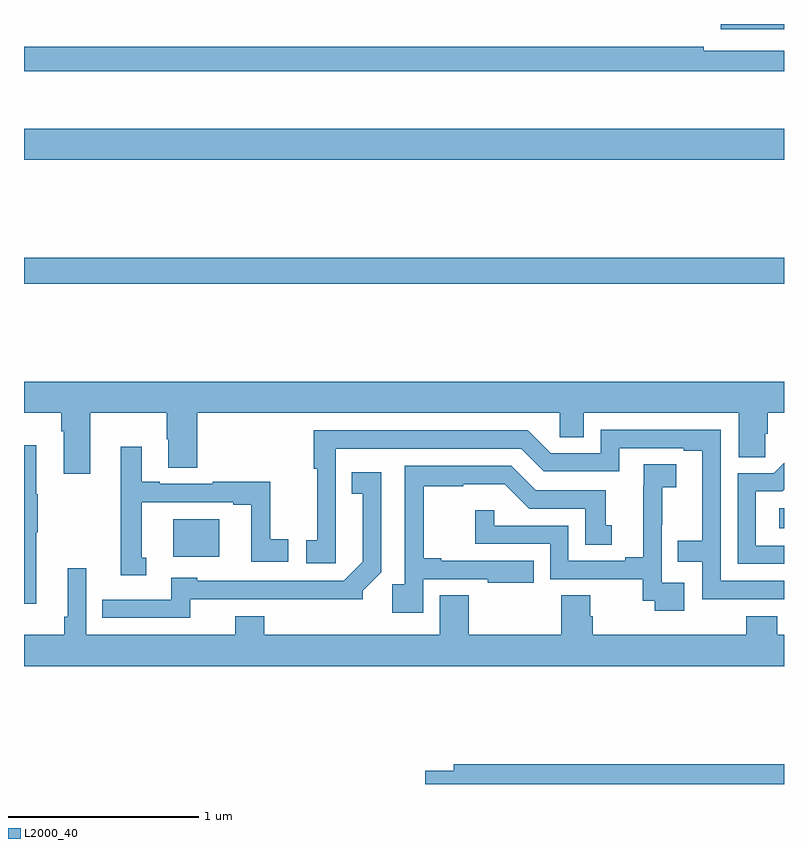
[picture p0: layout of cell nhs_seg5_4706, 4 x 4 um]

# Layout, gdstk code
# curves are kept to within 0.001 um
import gdstk
lib = gdstk.Library(unit=1e-6, precision=1e-09)
def R(c, l, rs):  # rectangles x0, y0, x1, y1
    for r in rs: c.add(gdstk.rectangle(r[:2], r[2:], *l))
def P(c, l, *ps):  # polygons
    for p in ps: c.add(gdstk.Polygon(p, *l))
L2000_40 = (2000, 40)

nhs_seg5_4706 = lib.new_cell('nhs_seg5_4706')
R(nhs_seg5_4706, L2000_40, [(387.785,863.996,388.027,864.193), (390.975,864.146,391,864.25), (387,865.432,391,865.568), (387,866.084,391,866.248), (390.666,866.771,391,866.799)])
P(nhs_seg5_4706, L2000_40, [(391,866.658),(390.578,866.658),(390.578,866.678),(387,866.678),(387,866.55),(391,866.55)],
  [(387.349,864.752),(387.751,864.752),(387.751,864.614),(387.758,864.614),(387.758,864.463),(387.911,864.463),(387.911,864.752),(389.82,864.752),(389.82,864.625),(389.947,864.625),(389.947,864.752),(390.761,864.752),(390.761,864.52),(390.9,864.52),(390.9,864.643),(390.914,864.643),(390.914,864.752),(391,864.752),(391,864.916),(387,864.916),(387,864.752),(387.197,864.752),(387.197,864.656),(387.209,864.656),(387.209,864.432),(387.349,864.432)],
  [(391,863.868),(390.666,863.868),(390.666,864.663),(390.036,864.663),(390.036,864.54),(389.772,864.54),(389.652,864.66),(388.525,864.66),(388.525,864.457),(388.543,864.457),(388.543,864.081),(388.485,864.081),(388.485,863.961),(388.642,863.961),(388.641,864.564),(389.616,864.564),(389.736,864.444),(390.132,864.444),(390.132,864.567),(390.473,864.567),(390.473,864.552),(390.569,864.552),(390.569,864.079),(390.442,864.079),(390.442,863.97),(390.57,863.97),(390.57,863.772),(391,863.772)],
  [(387.064,864.125),(387.072,864.125),(387.072,864.325),(387.064,864.325),(387.064,864.583),(387,864.583),(387,863.748),(387.064,863.748)],
  [(387.643,863.991),(387.619,863.991),(387.619,864.282),(388.1,864.282),(388.1,864.27),(388.196,864.27),(388.196,863.97),(388.39,863.97),(388.39,864.086),(388.296,864.086),(388.296,864.391),(387.994,864.391),(387.994,864.378),(387.715,864.378),(387.715,864.391),(387.619,864.391),(387.619,864.574),(387.509,864.574),(387.509,864.329),(387.51,864.329),(387.51,863.897),(387.643,863.897)],
  [(391,864.054),(390.852,864.054),(390.852,864.339),(390.99,864.339),(391,864.349),(391,864.49),(390.945,864.435),(390.756,864.435),(390.756,863.958),(391,863.958)],
  [(390.475,863.859),(390.357,863.859),(390.357,864.163),(390.359,864.163),(390.359,864.361),(390.433,864.361),(390.433,864.482),(390.262,864.482),(390.262,864.371),(390.26,864.371),(390.26,863.993),(390.164,863.993),(390.164,863.973),(389.865,863.973),(389.865,864.159),(389.475,864.159),(389.475,864.241),(389.374,864.241),(389.374,864.063),(389.769,864.063),(389.769,863.877),(390.256,863.877),(390.256,863.763),(390.319,863.763),(390.319,863.712),(390.475,863.712)],
  [(389.1,863.877),(389.441,863.877),(389.441,863.858),(389.684,863.858),(389.684,863.973),(389.197,863.973),(389.197,863.986),(389.105,863.986),(389.105,864.366),(389.312,864.366),(389.312,864.377),(389.53,864.377),(389.658,864.249),(389.954,864.249),(389.954,864.058),(390.094,864.058),(390.094,864.162),(390.061,864.162),(390.061,864.345),(389.694,864.345),(389.565,864.474),(389.004,864.474),(389.004,863.851),(388.939,863.851),(388.939,863.7),(389.1,863.7)],
  [(387.876,863.772),(388.782,863.771),(388.782,863.815),(388.881,863.914),(388.881,864.439),(388.726,864.439),(388.726,864.326),(388.784,864.326),(388.784,863.969),(388.683,863.868),(387.912,863.868),(387.912,863.884),(387.776,863.884),(387.776,863.769),(387.412,863.769),(387.412,863.673),(387.876,863.673)],
  [(391,863.584),(390.965,863.584),(390.965,863.683),(390.8,863.683),(390.8,863.584),(389.993,863.584),(389.993,863.682),(389.98,863.682),(389.98,863.792),(389.828,863.792),(389.828,863.584),(389.342,863.584),(389.342,863.792),(389.189,863.792),(389.189,863.584),(388.265,863.584),(388.265,863.683),(388.112,863.683),(388.112,863.584),(387.327,863.584),(387.327,863.935),(387.23,863.935),(387.23,863.68),(387.211,863.68),(387.211,863.584),(387,863.584),(387,863.42),(391,863.42)],
  [(391,862.904),(389.261,862.904),(389.261,862.868),(389.112,862.868),(389.112,862.799),(391,862.799)])

lib.write_gds('nhs_seg5_4706.gds')
